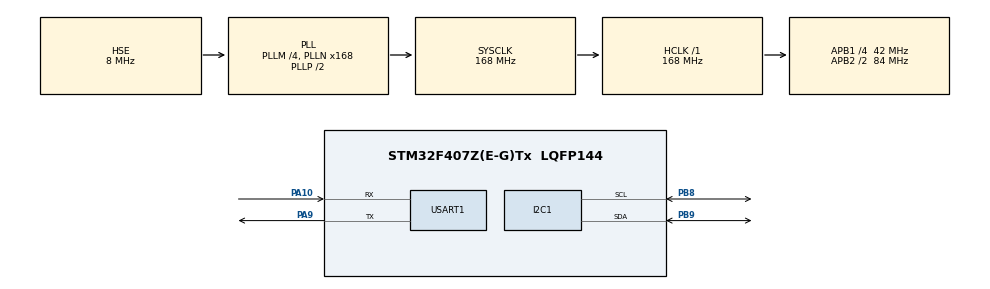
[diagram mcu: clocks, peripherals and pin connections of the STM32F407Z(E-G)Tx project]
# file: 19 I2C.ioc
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Mcu.Family=STM32F4
Mcu.Name=STM32F407Z(E-G)Tx
Mcu.Package=LQFP144
NVIC.PriorityGroup=NVIC_PRIORITYGROUP_4
PA10.Mode=Asynchronous
PA10.Signal=USART1_RX
PA13.Mode=Serial_Wire
PA13.Signal=SYS_JTMS-SWDIO
PA14.Mode=Serial_Wire
PA14.Signal=SYS_JTCK-SWCLK
PA9.Mode=Asynchronous
PA9.Signal=USART1_TX
PB8.Mode=I2C
PB8.Signal=I2C1_SCL
PB9.Mode=I2C
PB9.Signal=I2C1_SDA
PC14-OSC32_IN.Mode=LSE-External-Oscillator
PC14-OSC32_IN.Signal=RCC_OSC32_IN
PC15-OSC32_OUT.Mode=LSE-External-Oscillator
PC15-OSC32_OUT.Signal=RCC_OSC32_OUT
PH0-OSC_IN.Mode=HSE-External-Oscillator
PH0-OSC_IN.Signal=RCC_OSC_IN
PH1-OSC_OUT.Mode=HSE-External-Oscillator
PH1-OSC_OUT.Signal=RCC_OSC_OUT
ProjectManager.HeapSize=0x200
ProjectManager.StackSize=0x400
ProjectManager.TargetToolchain=MDK-ARM V5.32
RCC.48MHZClocksFreq_Value=84000000
RCC.AHBFreq_Value=168000000
RCC.APB1CLKDivider=RCC_HCLK_DIV4
RCC.APB1Freq_Value=42000000
RCC.APB1TimFreq_Value=84000000
RCC.APB2CLKDivider=RCC_HCLK_DIV2
RCC.APB2Freq_Value=84000000
RCC.APB2TimFreq_Value=168000000
RCC.CortexFreq_Value=168000000
RCC.HCLKFreq_Value=168000000
RCC.HSE_VALUE=8000000
RCC.HSI_VALUE=16000000
RCC.PLLM=4
RCC.PLLN=168
RCC.PLLSourceVirtual=RCC_PLLSOURCE_HSE
RCC.SYSCLKFreq_VALUE=168000000
RCC.SYSCLKSource=RCC_SYSCLKSOURCE_PLLCLK
RCC.VCOOutputFreq_Value=336000000
USART1.VirtualMode=VM_ASYNC
board=custom

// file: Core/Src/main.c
/* USER CODE BEGIN Header */
/**
  ******************************************************************************
  * @file           : main.c
  * @brief          : Main program body
  ******************************************************************************
  * @attention
  *
  * Copyright (c) 2023 STMicroelectronics.
  * All rights reserved.
  *
  * This software is licensed under terms that can be found in the LICENSE file
  * in the root directory of this software component.
  * If no LICENSE file comes with this software, it is provided AS-IS.
  *
  ******************************************************************************
  */
/* USER CODE END Header */
#include "main.h"
#include "i2c.h"
#include "usart.h"
#include "gpio.h"

/* USER CODE BEGIN Includes */
#include "stdio.h"
#include "mpu6050.h"
/* USER CODE END Includes */

/* USER CODE BEGIN PD */
#ifdef __GNUC__
#define PUTCHAR_PROTOTYPE int __io_putchar(int ch)
#else
#define PUTCHAR_PROTOTYPE int fputc(int ch, FILE *f)
#endif
PUTCHAR_PROTOTYPE
{
      HAL_UART_Transmit(&huart1, (uint8_t *)&ch, 1, HAL_MAX_DELAY);
      return ch;
}
/* USER CODE END PD */

/* USER CODE BEGIN PM */
int16_t ax,ay,az,gx,gy,gz;
/* USER CODE END PM */

void SystemClock_Config(void);

int main(void)
{

  /* MCU Configuration--------------------------------------------------------*/

  /* Reset of all peripherals, Initializes the Flash interface and the Systick. */
  HAL_Init();

  /* Configure the system clock */
  SystemClock_Config();

  /* Initialize all configured peripherals */
  MX_GPIO_Init();
  MX_I2C1_Init();
  MX_USART1_UART_Init();
  /* USER CODE BEGIN 2 */
	while(MPU6050_Init(&hi2c1) != HAL_OK){HAL_Delay(1);}
	printf("Reset\r\n");
  /* USER CODE END 2 */

  /* Infinite loop */
  while (1)
  {

    /* USER CODE BEGIN 3 */
		MPU_Get_RAW_Gyroscope(&ax,&ay,&az);
		MPU_Get_RAW_Accelerometer(&gx,&gy,&gz);
		printf("ax:%d,ay:%d,az:%d,",ax,ay,az);
		printf("gx:%d,gy:%d,gz:%d\r\n",gx,gy,gz);
		HAL_Delay(100);
  }
  /* USER CODE END 3 */
}

void SystemClock_Config(void)
{
  RCC_OscInitTypeDef RCC_OscInitStruct = {0};
  RCC_ClkInitTypeDef RCC_ClkInitStruct = {0};

  /** Configure the main internal regulator output voltage
  */
  __HAL_RCC_PWR_CLK_ENABLE();
  __HAL_PWR_VOLTAGESCALING_CONFIG(PWR_REGULATOR_VOLTAGE_SCALE1);

  /** Initializes the RCC Oscillators according to the specified parameters
  * in the RCC_OscInitTypeDef structure.
  */
  RCC_OscInitStruct.OscillatorType = RCC_OSCILLATORTYPE_HSE;
  RCC_OscInitStruct.HSEState = RCC_HSE_ON;
  RCC_OscInitStruct.PLL.PLLState = RCC_PLL_ON;
  RCC_OscInitStruct.PLL.PLLSource = RCC_PLLSOURCE_HSE;
  RCC_OscInitStruct.PLL.PLLM = 4;
  RCC_OscInitStruct.PLL.PLLN = 168;
  RCC_OscInitStruct.PLL.PLLP = RCC_PLLP_DIV2;
  RCC_OscInitStruct.PLL.PLLQ = 4;
  if (HAL_RCC_OscConfig(&RCC_OscInitStruct) != HAL_OK)
  {
    Error_Handler();
  }

  /** Initializes the CPU, AHB and APB buses clocks
  */
  RCC_ClkInitStruct.ClockType = RCC_CLOCKTYPE_HCLK|RCC_CLOCKTYPE_SYSCLK
                              |RCC_CLOCKTYPE_PCLK1|RCC_CLOCKTYPE_PCLK2;
  RCC_ClkInitStruct.SYSCLKSource = RCC_SYSCLKSOURCE_PLLCLK;
  RCC_ClkInitStruct.AHBCLKDivider = RCC_SYSCLK_DIV1;
  RCC_ClkInitStruct.APB1CLKDivider = RCC_HCLK_DIV4;
  RCC_ClkInitStruct.APB2CLKDivider = RCC_HCLK_DIV2;

  if (HAL_RCC_ClockConfig(&RCC_ClkInitStruct, FLASH_LATENCY_5) != HAL_OK)
  {
    Error_Handler();
  }
}

void Error_Handler(void)
{
  __disable_irq();
  while (1)
  {
  }
}
